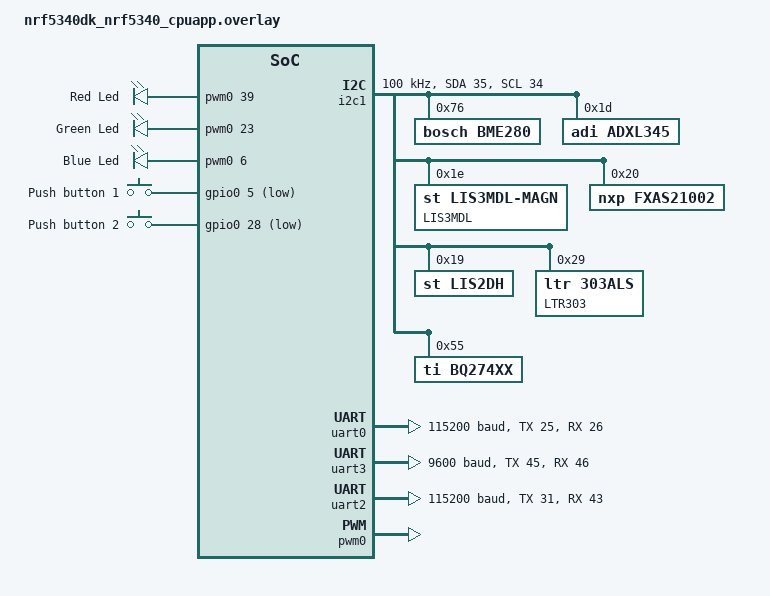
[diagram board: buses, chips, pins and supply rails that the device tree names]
/ {
	chosen {
		nordic,pm-ext-flash = &mx25r64;
	};

	soc {
		/* Add a flash controller which has the compatible
		 * 'zephyr,sim-flash'. This will ensure that the flash
		 * simulator can use it. None of the other properties in this
		 * node is used for anything.
		 */
		nordic_ram_flash_controller: nordic_ram-flash-controller@0 {
			compatible = "zephyr,sim-flash";
			reg = <0x00000000 DT_SIZE_K(40)>;
			#address-cells = <1>;
			#size-cells = <1>;
			erase-value = <0xff>;
			label = "nordic_ram_flash_flash_controller";

			/* This node label must match that used in the flash
			 * simulator.
			 */
			flash_sim0: flash_sim@0 {
				status = "okay";
				compatible = "soc-nv-flash";
				label = "simulated_flash";
				erase-block-size = <4096>;
				write-block-size = <4>;
				reg = <0x00000000 DT_SIZE_K(256)>;

				partitions {
					compatible = "fixed-partitions";
					#address-cells = <1>;
					#size-cells = <1>;

					/* This partition must be defined for
					 * MCUboot to find the partition ID
					 * of the primary slot for image 1,
					 * which is stored in this partition.
					 */
					slot2_partition: partition@0 {
						label = "image-2";
						reg = <0x00000000 0x00000A000>;
					};
				};
			};
		};
	};
};


&i2c1 {
    compatible = "nordic,nrf-twim";
	status = "okay";
	sda-pin = < 35 >;
	scl-pin = < 34 >;
    clock-frequency = <I2C_BITRATE_STANDARD>;  
	
	bme280@76 {
		compatible = "bosch,bme280";
		reg = <0x76>;
		label = "BME280";
	};

	adxl345@1D {
		compatible = "adi,adxl345";
		reg = <0x1D>;
		label = "ADXL345";
	};

	lis3mdl@1E {
		compatible = "st,lis3mdl-magn";
		reg = <0x1E>;
		label = "LIS3MDL";
	};

	fxas21002@20 {
		compatible = "nxp,fxas21002";
		reg = <0x20>;
		label = "FXAS21002";
	};

	lis2dh@19 {
		compatible = "st,lis2dh";
		reg = <0x19>;
		label = "LIS2DH";
	};

	ltr303: ltr303@29 { 
		compatible = "ltr,303als"; 
		reg = <0x29>; 
		label = "LTR303"; 
	};

	bq27421@55 {
		compatible = "ti,bq274xx";
		label = "BQ274XX";
		reg = <0x55>;
		design-voltage = <3700>;
		design-capacity = <1200>;
		taper-current = <45>;
		terminate-voltage = <3000>;
	};
};

// console uart
&uart0 {
	status = "okay";
	current-speed = <115200>;
	tx-pin = <25>;
	rx-pin = <26>;
	rts-pin = <27>;
	cts-pin = <24>;
};


// MaxM10S uart
&uart3 {
	status = "okay";
	current-speed = <9600>;//38400
	tx-pin = <45>;
	rx-pin = <46>;
};

// Default configuration is set on the NINA-W156 pins, the same UART is also used by SARA-R5
&uart2 {
	status = "okay";
	current-speed = <115200>;
	tx-pin = <31>;  
	rx-pin = <43>;
	cts-pin = <30>;  
	rts-pin = <20>;  
	hw-flow-control;
};


// Buttons
&button0 {
	gpios = <&gpio0 5 (GPIO_PULL_UP | GPIO_ACTIVE_LOW)>;
	label = "Push button 1";
};

&button1 {
	gpios = <&gpio0 28 (GPIO_PULL_UP | GPIO_ACTIVE_LOW)>;
	label = "Push button 2";
};

//PWM for Led control brightness
&pwm0 {
	status = "okay";
	ch0-pin = <39>;
	ch1-pin = <23>;
	ch2-pin = <6>;
};

// Leds at PWM channels
/{
	pwmleds {
		compatible = "pwm-leds";
		
		pwm_led0: pwm_led_0 {
			pwms = <&pwm0 39>;
			label = "Red Led";
		};
		
		pwm_led1: pwm_led_1 {
			pwms = <&pwm0 23>;
			label = "Green Led";
		};
		
		pwm_led2: pwm_led_2 {
			pwms = <&pwm0 6>;
			label = "Blue Led";
		};

	};

			
};
